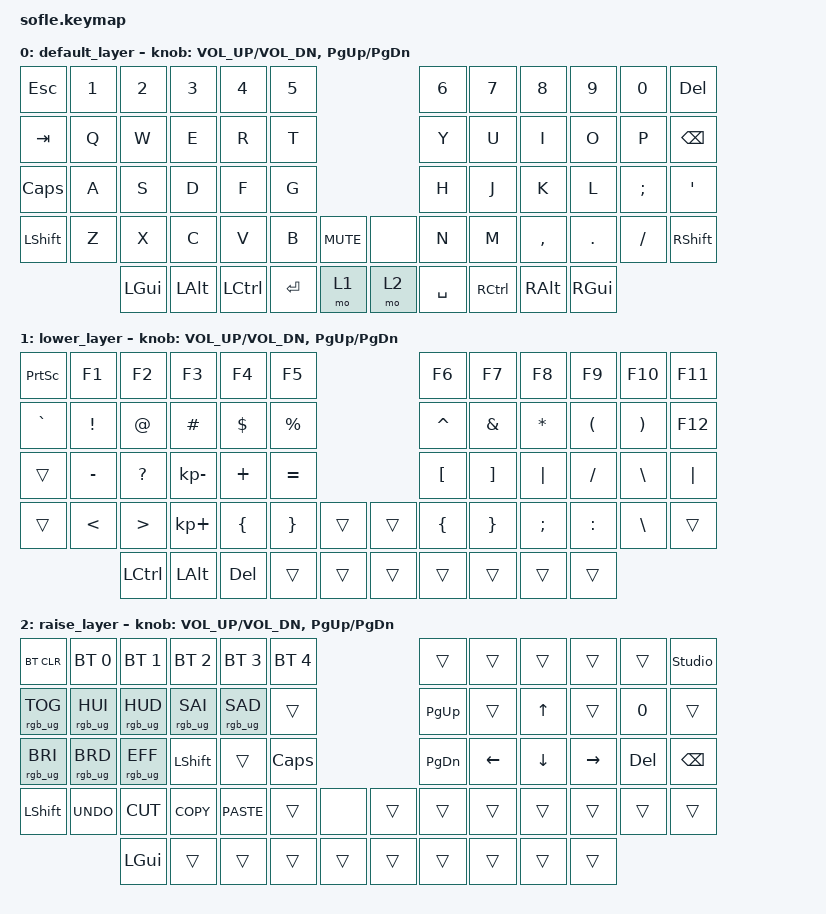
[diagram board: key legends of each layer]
/*
 * Copyright (c) 2020 The ZMK Contributors
 *
 * SPDX-License-Identifier: MIT
 */

#include <behaviors.dtsi>
#include <dt-bindings/zmk/bt.h>
#include <dt-bindings/zmk/keys.h>
#include <dt-bindings/zmk/rgb.h>

&led_strip { chain-length = <35>; };

&left_encoder { resolution = <2>; };

/ {
    combos { compatible = "zmk,combos"; };

    keymap {
        compatible = "zmk,keymap";

        default_layer {
            // ------------------------------------------------------------------------------------------------------------
            // |  `    |  1  |  2  |  3   |  4   |  5   |                   |  6   |  7    |  8    |  9   |   0   |       |
            // |  ESC  |  Q  |  W  |  E   |  R   |  T   |                   |  Y   |  U    |  I    |  O   |   P   | BKSPC |
            // |  TAB  |  A  |  S  |  D   |  F   |  G   |                   |  H   |  J    |  K    |  L   |   ;   |   '   |
            // | SHIFT |  Z  |  X  |  C   |  V   |  B   |  MUTE  |  |       |  N   |  M    |  ,    |  .   |   /   | SHIFT |
            //               | GUI | ALT  | CTRL | LOWER|  ENTER |  | SPACE | RAISE| CTRL  | ALT   | GUI  |

            bindings = <
&kp ESCAPE    &kp N1  &kp N2    &kp N3    &kp N4     &kp N5                          &kp N6     &kp N7     &kp N8     &kp N9    &kp N0    &kp DELETE
&kp TAB       &kp Q   &kp W     &kp E     &kp R      &kp T                           &kp Y      &kp U      &kp I      &kp O     &kp P     &kp BSPC
&kp CAPSLOCK  &kp A   &kp S     &kp D     &kp F      &kp G                           &kp H      &kp J      &kp K      &kp L     &kp SEMI  &kp SQT
&kp LSHFT     &kp Z   &kp X     &kp C     &kp V      &kp B      &kp C_MUTE    &none  &kp N      &kp M      &kp COMMA  &kp DOT   &kp FSLH  &kp RSHFT
                      &kp LGUI  &kp LALT  &kp LCTRL  &kp ENTER  &mo 1         &mo 2  &kp SPACE  &kp RCTRL  &kp RALT   &kp RGUI
            >;

            sensor-bindings = <&inc_dec_kp C_VOL_UP C_VOL_DN &inc_dec_kp PG_UP PG_DN>;
        };

        lower_layer {
            // TODO: Some binds are waiting for shifted keycode support.
            // ------------------------------------------------------------------------------------------------------------
            // |       |  F1 |  F2 |  F3  |  F4  |  F5  |                   |  F6  |  F7   |  F8   |  F9  |  F10  |  F11  |
            // | `     |   1 |   2 |   3  |   4  |   5  |                   |   6  |   7   |   8   |   9  |    0  |  F12  |
            // |       |  !  |  @  |  #   |  $   |  %   |                   |  ^   |  &    |  *    |  (   |   )   |   |   |
            // |       |  =  |  -  |  +   |  {   |  }   |        |  |       |  [   |  ]    |  ;    |  :   |   \   |       |
            //               |     |      |      |      |        |  |       |      |       |       |      |

            bindings = <
&kp PRINTSCREEN  &kp F1         &kp F2            &kp F3           &kp F4      &kp F5                       &kp F6            &kp F7             &kp F8     &kp F9                &kp F10                &kp F11
&kp GRAVE        &kp EXCL       &kp AT_SIGN       &kp HASH         &kp DLLR    &kp PRCNT                    &kp CARET         &kp AMPS           &kp ASTRK  &kp LEFT_PARENTHESIS  &kp RIGHT_PARENTHESIS  &kp F12
&trans           &kp MINUS      &kp QUESTION      &kp KP_SUBTRACT  &kp PLUS    &kp EQUAL                    &kp LEFT_BRACKET  &kp RIGHT_BRACKET  &kp PIPE   &kp SLASH             &kp BACKSLASH          &kp PIPE
&trans           &kp LESS_THAN  &kp GREATER_THAN  &kp KP_PLUS      &kp LBRC    &kp RBRC   &trans    &trans  &kp LEFT_BRACE    &kp RBRC           &kp SEMI   &kp COLON             &kp BSLH               &trans
                                &kp LEFT_CONTROL  &kp LEFT_ALT     &kp DELETE  &trans     &trans    &trans  &trans            &trans             &trans     &trans
            >;

            sensor-bindings = <&inc_dec_kp C_VOL_UP C_VOL_DN &inc_dec_kp PG_UP PG_DN>;
        };

        raise_layer {
            // ------------------------------------------------------------------------------------------------------------
            // |BTCLR| BT1  | BT2  |  BT3  |  BT4  |  BT5 |                |      |      |       |      |       |       |
            // |     | INS  | PSCR | GUI   |       |      |                | PGUP |      |   ^   |      |       |       |
            // |     | ALT  | CTRL | SHIFT |       | CAPS |                | PGDN |   <- |   v   |  ->  |  DEL  | BKSPC |
            // |     | UNDO | CUT  | COPY  | PASTE |      |      |  |      |      |      |       |      |       |       |
            //              |      |       |       |      |      |  |      |      |      |       |      |

            bindings = <
&bt BT_CLR       &bt BT_SEL 0     &bt BT_SEL 1     &bt BT_SEL 2     &bt BT_SEL 3     &bt BT_SEL 4                    &trans     &trans    &trans    &trans     &trans   &studio_unlock
&rgb_ug RGB_TOG  &rgb_ug RGB_HUI  &rgb_ug RGB_HUD  &rgb_ug RGB_SAI  &rgb_ug RGB_SAD  &trans                          &kp PG_UP  &trans    &kp UP    &trans     &kp N0   &trans
&rgb_ug RGB_BRI  &rgb_ug RGB_BRD  &rgb_ug RGB_EFF  &kp LSHFT        &trans           &kp CLCK                        &kp PG_DN  &kp LEFT  &kp DOWN  &kp RIGHT  &kp DEL  &kp BSPC
&kp LEFT_SHIFT   &kp K_UNDO       &kp K_CUT        &kp K_COPY       &kp K_PASTE      &trans        &none     &trans  &trans     &trans    &trans    &trans     &trans   &trans
                                  &kp LEFT_GUI     &trans           &trans           &trans        &trans    &trans  &trans     &trans    &trans    &trans
            >;

            sensor-bindings = <&inc_dec_kp C_VOL_UP C_VOL_DN &inc_dec_kp PG_UP PG_DN>;
        };
    };
};
